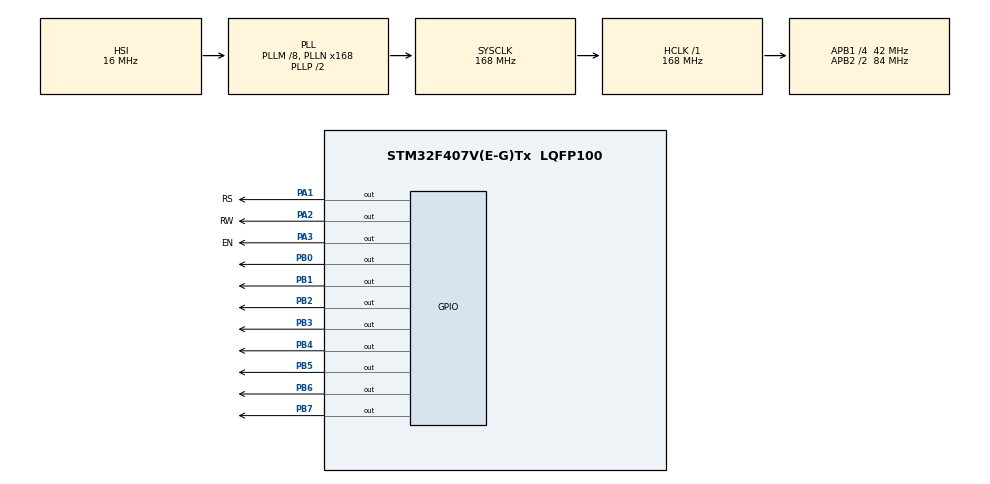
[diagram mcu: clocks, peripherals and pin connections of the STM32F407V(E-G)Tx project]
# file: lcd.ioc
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Mcu.Family=STM32F4
Mcu.Name=STM32F407V(E-G)Tx
Mcu.Package=LQFP100
NVIC.PriorityGroup=NVIC_PRIORITYGROUP_0
PA1.GPIO_Label=RS
PA1.Signal=GPIO_Output
PA13.Mode=Serial_Wire
PA13.Signal=SYS_JTMS-SWDIO
PA14.Mode=Serial_Wire
PA14.Signal=SYS_JTCK-SWCLK
PA2.GPIO_Label=RW
PA2.Signal=GPIO_Output
PA3.GPIO_Label=EN
PA3.Signal=GPIO_Output
PB0.Signal=GPIO_Output
PB1.Signal=GPIO_Output
PB2.Signal=GPIO_Output
PB3.Signal=GPIO_Output
PB4.Signal=GPIO_Output
PB5.Signal=GPIO_Output
PB6.Signal=GPIO_Output
PB7.Signal=GPIO_Output
ProjectManager.HeapSize=0x200
ProjectManager.StackSize=0x400
ProjectManager.TargetToolchain=STM32CubeIDE
RCC.48MHZClocksFreq_Value=48000000
RCC.AHBFreq_Value=168000000
RCC.APB1CLKDivider=RCC_HCLK_DIV4
RCC.APB1Freq_Value=42000000
RCC.APB1TimFreq_Value=84000000
RCC.APB2CLKDivider=RCC_HCLK_DIV2
RCC.APB2Freq_Value=84000000
RCC.APB2TimFreq_Value=168000000
RCC.CortexFreq_Value=168000000
RCC.HCLKFreq_Value=168000000
RCC.HSE_VALUE=8000000
RCC.HSI_VALUE=16000000
RCC.LSE_VALUE=32768
RCC.PLLM=8
RCC.PLLN=168
RCC.PLLQ=7
RCC.SYSCLKFreq_VALUE=168000000
RCC.SYSCLKSource=RCC_SYSCLKSOURCE_PLLCLK
RCC.VCOOutputFreq_Value=336000000
board=STM32F407G-DISC1

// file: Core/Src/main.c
/* USER CODE BEGIN Header */
/**
 ******************************************************************************
 * @file           : main.c
 * @brief          : Main program body
 ******************************************************************************
 * @attention
 *
 * Copyright (c) 2024 STMicroelectronics.
 * All rights reserved.
 *
 * This software is licensed under terms that can be found in the LICENSE file
 * in the root directory of this software component.
 * If no LICENSE file comes with this software, it is provided AS-IS.
 *
 ******************************************************************************
 */
/* USER CODE END Header */
#include "main.h"

/* USER CODE BEGIN PD */
#define	CLEAR_SCREEN			0X01	//Clear Display Screen
#define DISPLAY_CURSOR_ON		0x0E 	//Display ON, Cursor ON
#define CURSON_ROW_1			0x80	//Force cursor to begin on 1st row
#define CURSOR_ROW_2			0xC0	//Change position to 1st coloumn of 2nd row
#define delay_t					1
/* USER CODE END PD */

void SystemClock_Config(void);
static void MX_GPIO_Init(void);
/* USER CODE BEGIN PFP */
void lcd_init(void);
void lcd_send_command(unsigned char data);
void lcd_send_data(unsigned char data);

/* USER CODE END PFP */

/* USER CODE BEGIN 0 */
void lcd_init(void) {
	//lcd_send_command(0x02); // Initialize LCD in 4-bit mode
	//lcd_send_command(0x28); // 2 line, 5x7 matrix in 4-bit mode
	lcd_send_command(CLEAR_SCREEN);
	HAL_Delay(delay_t); // Wait for clear to complete
	lcd_send_command(DISPLAY_CURSOR_ON);
	lcd_send_command(CURSON_ROW_1);
}

void lcd_send_command(unsigned char data) {

	/*Sending the MSB bit */
	GPIOB->ODR = ((data >> 4) & 0x0F);
	//GPIOB->ODR = data & 0xF0;

	/* RS -> Register Select | RS = (1 - Data register),(0 - Instruction Register) */
	HAL_GPIO_WritePin(RS_GPIO_Port, RS_Pin, GPIO_PIN_RESET);

	/* RW -> Read or Write | RW = (0 - Write), (1 - Write) */
	HAL_GPIO_WritePin(RW_GPIO_Port, RW_Pin, GPIO_PIN_RESET);

	/* EN -> Enable = 1 (Clock Enabled) */
	HAL_GPIO_WritePin(EN_GPIO_Port, EN_Pin, GPIO_PIN_SET);

	/* 5ms delay */
	HAL_Delay(delay_t);

	/* EN -> Enable = 0 (Clock Disabled) */
	HAL_GPIO_WritePin(EN_GPIO_Port, EN_Pin, GPIO_PIN_RESET);

	/* 5ms delay */
	HAL_Delay(delay_t);

	/* Sending the LSB bit */
	GPIOB->ODR = (data & 0x0F);
	//GPIOB->ODR = data << 4;

	/* EN -> Enable = 1 (Clock Enabled) */
	HAL_GPIO_WritePin(EN_GPIO_Port, EN_Pin, GPIO_PIN_SET);

	/* 5ms delay */
	HAL_Delay(delay_t);

	/* EN -> Enable = 0 (Clock Disabled) */
	HAL_GPIO_WritePin(EN_GPIO_Port, EN_Pin, GPIO_PIN_RESET);

	/* 5ms delay */
	HAL_Delay(delay_t);
}
void lcd_send_data(unsigned char data) {

	/*Sending the MSB bit */
	GPIOB->ODR = ((data >> 4) & 0x0F);
	//GPIOB->ODR = data & 0xF0;

	/* RS -> Register Select | RS = (1 - Data register),(0 - Instruction Register) */
	HAL_GPIO_WritePin(RS_GPIO_Port, RS_Pin, GPIO_PIN_SET);

	/* RW -> Read or Write | RW = (0 - Write), (1 - Write) */
	HAL_GPIO_WritePin(RW_GPIO_Port, RW_Pin, GPIO_PIN_RESET);

	/* EN -> Enable = 1 (Clock Enabled) */
	HAL_GPIO_WritePin(EN_GPIO_Port, EN_Pin, GPIO_PIN_SET);

	/* 5ms delay */
	HAL_Delay(delay_t);

	/* EN -> Enable = 0 (Clock Disabled) */
	HAL_GPIO_WritePin(EN_GPIO_Port, EN_Pin, GPIO_PIN_RESET);

	/* 5ms delay */
	HAL_Delay(delay_t);

	/*Sending the LSB bit */
	GPIOB->ODR = (data & 0x0F);
	//GPIOB->ODR = data << 4;

	/* EN -> Enable = 1 (Clock Enabled) */
	HAL_GPIO_WritePin(EN_GPIO_Port, EN_Pin, GPIO_PIN_SET);

	/* 5ms delay */
	HAL_Delay(delay_t);

	/* EN -> Enable = 0 (Clock Disabled) */
	HAL_GPIO_WritePin(EN_GPIO_Port, EN_Pin, GPIO_PIN_RESET);

	/* 5ms delay */
	HAL_Delay(delay_t);
}
/* USER CODE END 0 */

int main(void) {

	/* MCU Configuration--------------------------------------------------------*/

	/* Reset of all peripherals, Initializes the Flash interface and the Systick. */
	HAL_Init();

	/* Configure the system clock */
	SystemClock_Config();

	/* Initialize all configured peripherals */
	MX_GPIO_Init();
	/* USER CODE BEGIN 2 */
	char *name = "Hello World!";
	lcd_init();
	for (int i = 0; name[i] != '\0'; i++) {
		lcd_send_data(*(name + i));
		HAL_Delay(100);
	}

	/* USER CODE END 2 */

	/* Infinite loop */
	while (1) {

	}
}

void SystemClock_Config(void) {
	RCC_OscInitTypeDef RCC_OscInitStruct = { 0 };
	RCC_ClkInitTypeDef RCC_ClkInitStruct = { 0 };

	/** Configure the main internal regulator output voltage
	 */
	__HAL_RCC_PWR_CLK_ENABLE();
	__HAL_PWR_VOLTAGESCALING_CONFIG(PWR_REGULATOR_VOLTAGE_SCALE1);

	/** Initializes the RCC Oscillators according to the specified parameters
	 * in the RCC_OscInitTypeDef structure.
	 */
	RCC_OscInitStruct.OscillatorType = RCC_OSCILLATORTYPE_HSI;
	RCC_OscInitStruct.HSIState = RCC_HSI_ON;
	RCC_OscInitStruct.HSICalibrationValue = RCC_HSICALIBRATION_DEFAULT;
	RCC_OscInitStruct.PLL.PLLState = RCC_PLL_ON;
	RCC_OscInitStruct.PLL.PLLSource = RCC_PLLSOURCE_HSI;
	RCC_OscInitStruct.PLL.PLLM = 8;
	RCC_OscInitStruct.PLL.PLLN = 168;
	RCC_OscInitStruct.PLL.PLLP = RCC_PLLP_DIV2;
	RCC_OscInitStruct.PLL.PLLQ = 7;
	if (HAL_RCC_OscConfig(&RCC_OscInitStruct) != HAL_OK) {
		Error_Handler();
	}

	/** Initializes the CPU, AHB and APB buses clocks
	 */
	RCC_ClkInitStruct.ClockType = RCC_CLOCKTYPE_HCLK | RCC_CLOCKTYPE_SYSCLK
			| RCC_CLOCKTYPE_PCLK1 | RCC_CLOCKTYPE_PCLK2;
	RCC_ClkInitStruct.SYSCLKSource = RCC_SYSCLKSOURCE_PLLCLK;
	RCC_ClkInitStruct.AHBCLKDivider = RCC_SYSCLK_DIV1;
	RCC_ClkInitStruct.APB1CLKDivider = RCC_HCLK_DIV4;
	RCC_ClkInitStruct.APB2CLKDivider = RCC_HCLK_DIV2;

	if (HAL_RCC_ClockConfig(&RCC_ClkInitStruct, FLASH_LATENCY_5) != HAL_OK) {
		Error_Handler();
	}
}

static void MX_GPIO_Init(void) {
	GPIO_InitTypeDef GPIO_InitStruct = { 0 };

	/* GPIO Ports Clock Enable */
	__HAL_RCC_GPIOA_CLK_ENABLE();
	__HAL_RCC_GPIOB_CLK_ENABLE();

	/*Configure GPIO pin Output Level */
	HAL_GPIO_WritePin(GPIOA, RS_Pin | RW_Pin | EN_Pin, GPIO_PIN_RESET);

	/*Configure GPIO pin Output Level */
	HAL_GPIO_WritePin(GPIOB,
			GPIO_PIN_0 | GPIO_PIN_1 | GPIO_PIN_2 | GPIO_PIN_3 | GPIO_PIN_4
					| GPIO_PIN_5 | GPIO_PIN_6 | GPIO_PIN_7, GPIO_PIN_RESET);

	/*Configure GPIO pins : RS_Pin RW_Pin EN_Pin */
	GPIO_InitStruct.Pin = RS_Pin | RW_Pin | EN_Pin;
	GPIO_InitStruct.Mode = GPIO_MODE_OUTPUT_PP;
	GPIO_InitStruct.Pull = GPIO_NOPULL;
	GPIO_InitStruct.Speed = GPIO_SPEED_FREQ_LOW;
	HAL_GPIO_Init(GPIOA, &GPIO_InitStruct);

	/*Configure GPIO pins : PB0 PB1 PB2 PB3
	 PB4 PB5 PB6 PB7 */
	GPIO_InitStruct.Pin = GPIO_PIN_0 | GPIO_PIN_1 | GPIO_PIN_2 | GPIO_PIN_3
			| GPIO_PIN_4 | GPIO_PIN_5 | GPIO_PIN_6 | GPIO_PIN_7;
	GPIO_InitStruct.Mode = GPIO_MODE_OUTPUT_PP;
	GPIO_InitStruct.Pull = GPIO_NOPULL;
	GPIO_InitStruct.Speed = GPIO_SPEED_FREQ_LOW;
	HAL_GPIO_Init(GPIOB, &GPIO_InitStruct);

}

void Error_Handler(void) {
	__disable_irq();
	while (1) {
	}
}
